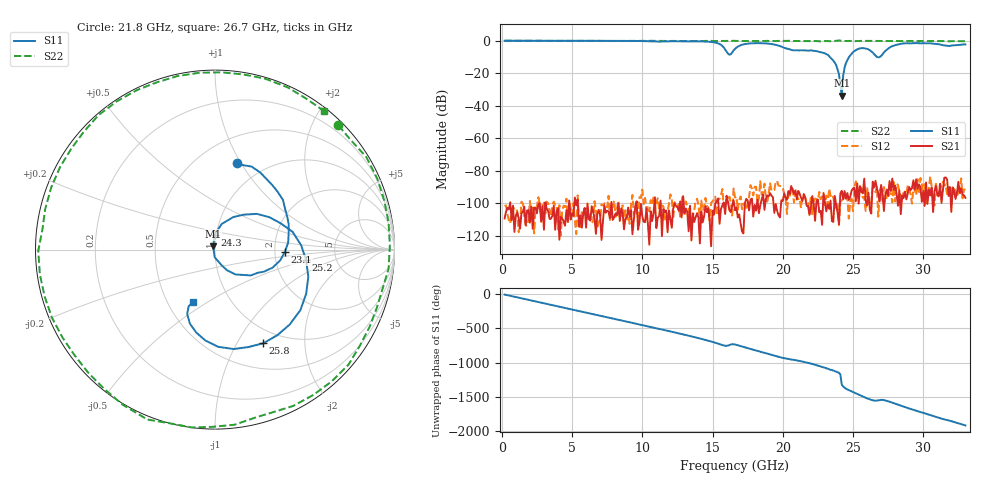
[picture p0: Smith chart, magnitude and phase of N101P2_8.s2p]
# GHZ S RI R 50
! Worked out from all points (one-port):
!   329 points, 200 MHz to 33 GHz, reference 50 ohm
!   lowest |S11| = -33.8 dB at 24.2 GHz (marker M1), VSWR 1.04, Z = 48.9 + j1.7 ohm
!   |S11| at or under -10 dB: 23.35 GHz to 24.72 GHz (1.37 GHz wide, 5.7 % of centre); 26.72 GHz to 26.91 GHz (187.2 MHz wide, 0.698 % of centre)
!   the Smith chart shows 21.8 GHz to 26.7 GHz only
!   S11 on the Smith chart (normalised r, x): 21.8 GHz: 0.75, +0.96; 23.1 GHz: 2.28, -0.07; 24.3 GHz: 0.98, +0.17; 25.2 GHz: 3.00, -0.49; 25.8 GHz: 0.81, -1.29; 26.7 GHz: 0.67, -0.43
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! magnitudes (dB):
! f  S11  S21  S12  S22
! 200 MHz  0.0  -109.3  -101.7  0.0
! 5.7 GHz  -0.1  -114.9  -104.8  -0.1
! 11.2 GHz  -0.5  -107.9  -103.5  -0.1
! 15.2 GHz  -1.1  -100.1  -95.8  -0.2
! 15.7 GHz  -3.2  -101.1  -91.2  -0.1
! 16.2 GHz  -8.6  -104.2  -95.8  -0.1
! 16.6 GHz  -5.0  -104.3  -96.4  -0.1
! 18.4 GHz  -1.5  -101.2  -86.4  -0.2
! 21.8 GHz  -6.1  -101.5  -99.1  -0.2
! 22.1 GHz  -6.1  -95.5  -107.2  -0.1
! 23.1 GHz  -8.2  -105.0  -95.2  -0.2
! 23.8 GHz  -14.9  -100.7  -102.0  0.0
! 24 GHz  -20.6  -112.8  -113.3  0.2
! 24.2 GHz  -33.8  -92.3  -98.0  -0.1
! 24.3 GHz  -21.6  -97.5  -98.8  -0.1
! 24.5 GHz  -13.6  -97.2  -95.0  -0.2
! 25.2 GHz  -5.8  -98.7  -86.5  -0.2
! 25.8 GHz  -4.6  -84.7  -96.1  -0.1
! 26.7 GHz  -9.9  -90.9  -89.8  -0.2
! 27.6 GHz  -4.2  -86.3  -93.8  -0.1
! 28.8 GHz  -1.6  -97.5  -93.9  -0.2
! 33 GHz  -2.3  -96.6  -91.5  -0.3
